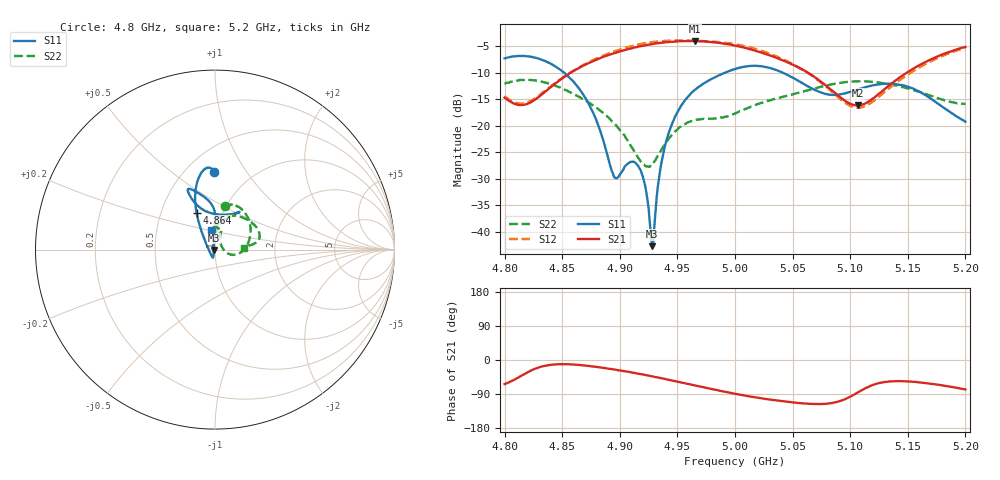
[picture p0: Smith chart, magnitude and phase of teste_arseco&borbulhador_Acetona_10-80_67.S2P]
! Network Analyzer HP8722D
! Hewlett-Packard
! Data name: Linha & Wilkinson
! Saver's name: Rodrigo Anjos
! Comments: Teste da utilização de aquisição
! continua pelo VNA HP8722D
! Time and date: 25/4/2025 15:49
!  Frequency  S11  S21  S12  S22
# HZ  S  MA R 50
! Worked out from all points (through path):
!   401 points, 4.8 GHz to 5.2 GHz, reference 50 ohm
!   highest |S21| = -3.96 dB at 4.965 GHz (marker M1); lowest = -16.1 dB at 5.107 GHz (marker M2)
!   lowest |S11| = -42.7 dB at 4.928 GHz (marker M3), VSWR 1.01, Z = 49.3 - j0.143 ohm
!   |S11| at or under -10 dB: 4.852 GHz to 4.991 GHz (139 MHz wide, 2.82 % of centre); 5.042 GHz to end of sweep
!   |S22| runs from -27.7 to -11.3 dB; largest |S21 - S12| = 1.2
!   S11 on the Smith chart (normalised r, x): 4.8 GHz: 0.68, +0.73; 4.864 GHz: 0.75, +0.33; 5.2 GHz: 0.94, +0.21
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4.8e9  0.4343 90.5  0.1852 -63.5  0.1904 69.9  0.2494 77.2
4.82e9  0.4528 96.8  0.1618 -32.1  0.1675 98.7  0.2724 61.5
4.864e9  0.2305 116.5  0.35 -12.9  0.3536 121.0  0.1896 11.8
4.867e9  0.2073 118.3  0.365 -13.9  0.3682 120.7  0.1818 8.4
4.88e9  0.1105 128.9  0.4227 -18.4  0.4336 118.1  0.1478 -5.5
4.895e9  0.03292 -172.4  0.4869 -25.1  0.5034 113.7  0.1064 -16.1
4.91e9  0.04595 -106.1  0.5387 -32.8  0.5652 106.9  0.06372 -13.5
4.917e9  0.03993 -103.3  0.5639 -36.7  0.5909 103.3  0.04823 -1.2
4.922e9  0.02741 -107.0  0.5768 -39.3  0.6048 100.6  0.04199 16.8
4.928e9  0.007351 -168.6  0.5915 -43.0  0.6182 96.9  0.04343 41.3
4.93e9  0.01128 126.8  0.5974 -44.5  0.6201 95.7  0.04652 48.3
4.934e9  0.03199 99.8  0.6041 -46.9  0.6296 93.1  0.05456 58.6
4.939e9  0.06333 92.9  0.615 -49.7  0.635 90.0  0.06683 65.6
4.946e9  0.1092 89.8  0.6235 -54.7  0.6394 85.5  0.08441 70.4
4.965e9  0.2179 90.7  0.6336 -67.1  0.6362 73.2  0.1138 71.8
5e9  0.345 109.0  0.5737 -89.1  0.5916 50.6  0.1309 88.2
5.03e9  0.3536 115.1  0.4645 -104.3  0.48 33.6  0.1738 85.4
5.067e9  0.2254 105.1  0.3006 -115.9  0.2973 23.5  0.2225 57.1
5.107e9  0.2222 63.8  0.1565 -85.0  0.1485 58.3  0.2638 24.1
5.134e9  0.2508 57.0  0.2421 -56.6  0.2276 88.7  0.2476 12.3
5.168e9  0.1874 68.9  0.4149 -61.9  0.3973 85.1  0.1958 6.9
5.2e9  0.1097 100.4  0.5567 -77.7  0.5454 70.0  0.1609 3.7
